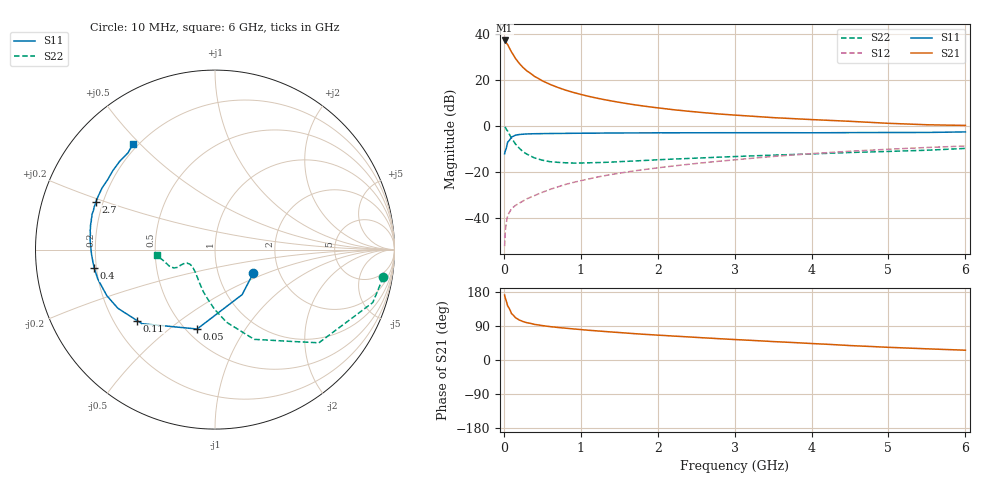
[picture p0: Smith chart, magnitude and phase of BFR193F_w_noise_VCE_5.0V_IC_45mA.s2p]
! Infineon Technologies  Discrete & RF Semiconductors
! BFR193F
! VCE =  5.0 V,  IC =  45 mA
! Common Emitter S-Parameters:  Jan 2017
# GHz  S  MA  R  50
!  f  S11  S21  S12  S22
! GHz  MAG  ANG  MAG  ANG  MAG  ANG  MAG  ANG
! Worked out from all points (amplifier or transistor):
!   77 points, 10 MHz to 6 GHz, reference 50 ohm
!   highest |S21| = 37.0 dB at 10 MHz (marker M1)
!   |S21| within 3 dB of that: start of sweep to 68.38 MHz
!   unconditionally stable (mu >= 1): 925.2 MHz to 2.536 GHz
!   at 130 MHz: K = 0.47, MSG = 32.7 dB, |S12| = -35.0 dB
!   at 2.2 GHz: K = 1.02, MAG = 11.4 dB, |S12| = -17.3 dB
!   at 6 GHz: K = 0.86, MSG = 4.5 dB, |S12| = -8.7 dB
!   lowest NFmin = 1.41 dB at 450 MHz
!   S11 on the Smith chart (normalised r, x): 10 MHz: 1.48, -0.41; 50 MHz: 0.57, -0.63; 110 MHz: 0.30, -0.36; 400 MHz: 0.19, -0.07; 2.7 GHz: 0.17, +0.19; 6 GHz: 0.18, +0.48
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0.01  0.2503 -31.4  71.17 171.4  0.0025 79.8  0.9499 -9.3
0.02  0.2928 -58.9  68.83 162.7  0.0056 73.5  0.9275 -18.5
0.05  0.4535 -102.7  57.53 142.4  0.0115 62.7  0.7776 -41.9
0.1  0.5797 -134.6  39.87 122.2  0.0161 53.6  0.5458 -66.4
0.11  0.5871 -137.6  37.65 120.6  0.0167 53.1  0.5163 -68.7
0.15  0.6323 -148.9  29.19 111.9  0.019 51.5  0.4095 -81.0
0.2  0.655 -156.9  22.72 105.6  0.0213 52.9  0.3314 -90.6
0.25  0.6646 -162.6  18.47 101.4  0.0238 54.1  0.277 -98.6
0.3  0.6734 -166.0  15.59 98.4  0.0265 56.3  0.2459 -104.9
0.4  0.6806 -171.2  11.82 93.9  0.0312 61.8  0.2033 -115.4
0.5  0.684 -174.6  9.521 90.8  0.0366 64.1  0.1817 -123.0
0.6  0.6875 -177.2  7.974 88.1  0.0424 66.5  0.1689 -129.6
0.7  0.6906 -179.6  6.853 85.9  0.048 68.1  0.1635 -134.5
0.9  0.6956 176.9  5.355 82.1  0.0598 70.9  0.1577 -142.2
1.1  0.6996 173.9  4.399 78.5  0.0711 72.2  0.1596 -146.9
1.5  0.7064 169.1  3.257 72.5  0.095 72.9  0.1691 -152.7
2.1  0.7121 163.1  2.364 64.5  0.13 72.8  0.189 -155.7
2.7  0.7143 158.1  1.881 57.4  0.1666 71.8  0.2081 -155.6
3.1  0.7155 154.7  1.681 53.0  0.1916 71.0  0.2211 -154.7
4.1  0.7144 146.0  1.354 42.5  0.2582 66.9  0.252 -156.3
5.1  0.7236 136.1  1.127 32.7  0.3193 61.2  0.2848 -165.2
6  0.7452 127.8  1.029 25.8  0.3687 56.0  0.3272 -174.4
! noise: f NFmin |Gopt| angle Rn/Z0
0.45  1.41  0.45  180  0.07
0.9  1.49  0.46  -179  0.07
1.9  2.06  0.59  -164  0.09
2.4  2.37  0.61  -156  0.14
